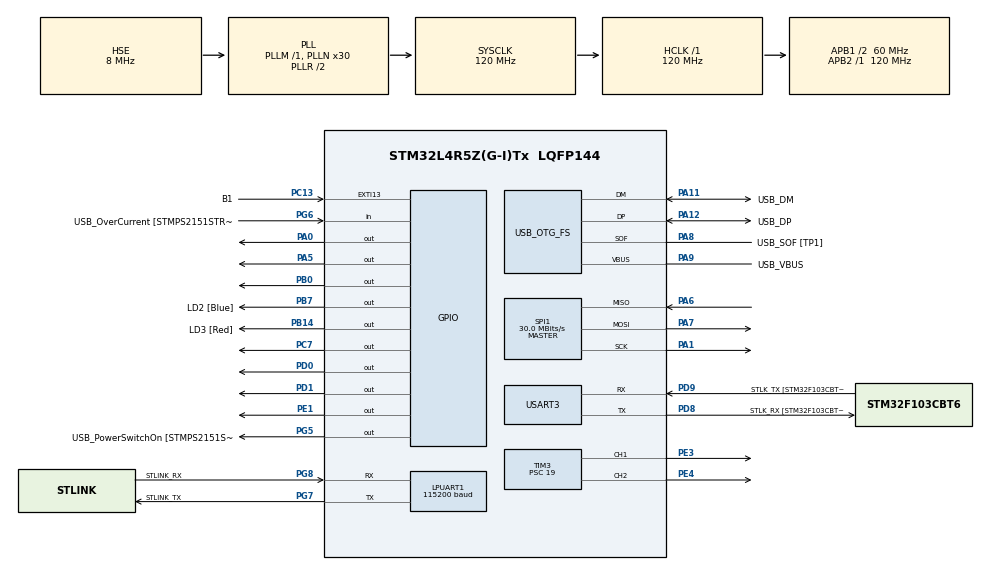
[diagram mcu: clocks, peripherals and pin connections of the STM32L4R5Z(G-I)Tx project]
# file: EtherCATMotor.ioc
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LPUART1.BaudRate=115200
LPUART1.WordLength=UART_WORDLENGTH_8B
Mcu.Family=STM32L4
Mcu.Name=STM32L4R5Z(G-I)Tx
Mcu.Package=LQFP144
NVIC.EXTI15_10_IRQn=true\:0\:0\:false\:false\:true\:true\:true
NVIC.PriorityGroup=NVIC_PRIORITYGROUP_4
PA0.GPIO_PuPd=GPIO_PULLUP
PA0.GPIO_Speed=GPIO_SPEED_FREQ_VERY_HIGH
PA0.PinState=GPIO_PIN_SET
PA0.Signal=GPIO_Output
PA1.Mode=Full_Duplex_Master
PA1.Signal=SPI1_SCK
PA10.GPIO_Label=USB_ID
PA10.Signal=USB_OTG_FS_ID
PA11.GPIO_Label=USB_DM
PA11.Mode=Device_Only
PA11.Signal=USB_OTG_FS_DM
PA12.GPIO_Label=USB_DP
PA12.Mode=Device_Only
PA12.Signal=USB_OTG_FS_DP
PA13\ (JTMS/SWDIO).GPIO_Label=TMS
PA13\ (JTMS/SWDIO).Mode=Trace_Asynchronous_SW
PA13\ (JTMS/SWDIO).Signal=SYS_JTMS-SWDIO
PA14\ (JTCK/SWCLK).GPIO_Label=TCK
PA14\ (JTCK/SWCLK).Mode=Trace_Asynchronous_SW
PA14\ (JTCK/SWCLK).Signal=SYS_JTCK-SWCLK
PA5.GPIO_PuPd=GPIO_PULLUP
PA5.PinState=GPIO_PIN_SET
PA5.Signal=GPIO_Output
PA6.Mode=Full_Duplex_Master
PA6.Signal=SPI1_MISO
PA7.Mode=Full_Duplex_Master
PA7.Signal=SPI1_MOSI
PA8.GPIO_Label=USB_SOF [TP1]
PA8.Mode=Activate_SOF_FS
PA8.Signal=USB_OTG_FS_SOF
PA9.GPIO_Label=USB_VBUS
PA9.Mode=Activate_VBUS
PA9.Signal=USB_OTG_FS_VBUS
PB0.GPIO_PuPd=GPIO_PULLUP
PB0.Signal=GPIO_Output
PB14.GPIO_Label=LD3 [Red]
PB14.GPIO_PuPd=GPIO_PULLUP
PB14.Signal=GPIO_Output
PB3\ (JTDO/TRACESWO).GPIO_Label=SWO
PB3\ (JTDO/TRACESWO).Mode=Trace_Asynchronous_SW
PB3\ (JTDO/TRACESWO).Signal=SYS_JTDO-SWO
PB7.GPIO_Label=LD2 [Blue]
PB7.GPIO_PuPd=GPIO_PULLUP
PB7.Signal=GPIO_Output
PC13.GPIO_Label=B1
PC13.Signal=GPXTI13
PC14-OSC32_IN\ (PC14).Mode=LSE-External-Oscillator
PC14-OSC32_IN\ (PC14).Signal=RCC_OSC32_IN
PC15-OSC32_OUT\ (PC15).Mode=LSE-External-Oscillator
PC15-OSC32_OUT\ (PC15).Signal=RCC_OSC32_OUT
PC7.GPIO_PuPd=GPIO_PULLUP
PC7.Signal=GPIO_Output
PD0.GPIO_PuPd=GPIO_PULLUP
PD0.GPIO_Speed=GPIO_SPEED_FREQ_HIGH
PD0.Signal=GPIO_Output
PD1.GPIO_PuPd=GPIO_PULLUP
PD1.GPIO_Speed=GPIO_SPEED_FREQ_HIGH
PD1.Signal=GPIO_Output
PD8.GPIO_Label=STLK_RX [STM32F103CBT6_PA3]
PD8.Mode=Asynchronous
PD8.Signal=USART3_TX
PD9.GPIO_Label=STLK_TX [STM32F103CBT6_PA2]
PD9.Mode=Asynchronous
PD9.Signal=USART3_RX
PE1.GPIO_PuPd=GPIO_PULLUP
PE1.GPIO_Speed=GPIO_SPEED_FREQ_HIGH
PE1.Signal=GPIO_Output
PE3.Signal=S_TIM3_CH1
PE4.Signal=S_TIM3_CH2
PG5.GPIO_Label=USB_PowerSwitchOn [STMPS2151STR_EN]
PG5.Signal=GPIO_Output
PG6.GPIO_Label=USB_OverCurrent [STMPS2151STR_FAULT]
PG6.Signal=GPIO_Input
PG7.GPIO_Label=STLINK_TX
PG7.Mode=Asynchronous
PG7.Signal=LPUART1_TX
PG8.GPIO_Label=STLINK_RX
PG8.Mode=Asynchronous
PG8.Signal=LPUART1_RX
PH0-OSC_IN\ (PH0).Mode=HSE-External-Clock-Source
PH0-OSC_IN\ (PH0).Signal=RCC_OSC_IN
PH1-OSC_OUT\ (PH1).Signal=RCC_OSC_OUT
ProjectManager.HeapSize=0x200
ProjectManager.StackSize=0x400
ProjectManager.TargetToolchain=STM32CubeIDE
RCC.48MHZClocksFreq_Value=24000000
RCC.ADCFreq_Value=48000000
RCC.AHBFreq_Value=120000000
RCC.APB1CLKDivider=RCC_HCLK_DIV2
RCC.APB1Freq_Value=60000000
RCC.APB1TimFreq_Value=120000000
RCC.APB2Freq_Value=120000000
RCC.APB2TimFreq_Value=120000000
RCC.CortexFreq_Value=120000000
RCC.HCLKFreq_Value=120000000
RCC.HSE_VALUE=8000000
RCC.HSI48_VALUE=48000000
RCC.HSI_VALUE=16000000
RCC.MSI_VALUE=4000000
RCC.PLLMUL=RCC_PLL_MUL9
RCC.PLLN=30
RCC.PLLSAI1N=12
RCC.PLLSourceVirtual=RCC_PLLSOURCE_HSE
RCC.PRESCALERUSB=RCC_USBCLKSOURCE_PLL_DIV1_5
RCC.SYSCLKFreq_VALUE=120000000
RCC.SYSCLKSource=RCC_SYSCLKSOURCE_PLLCLK
RCC.SYSCLKSourceVirtual=RCC_SYSCLKSOURCE_PLLCLK
RCC.USBFreq_Value=48000000
RCC.VCOOutputFreq_Value=240000000
SH.S_TIM3_CH1.0=TIM3_CH1,PWM Generation1 CH1
SH.S_TIM3_CH2.0=TIM3_CH2,PWM Generation2 CH2
SPI1.BaudRatePrescaler=SPI_BAUDRATEPRESCALER_4
SPI1.CalculateBaudRate=30.0 MBits/s
SPI1.DataSize=SPI_DATASIZE_8BIT
SPI1.Direction=SPI_DIRECTION_2LINES
SPI1.Mode=SPI_MODE_MASTER
SPI1.VirtualType=VM_MASTER
TIM3.Channel-PWM\ Generation1\ CH1=TIM_CHANNEL_1
TIM3.Channel-PWM\ Generation2\ CH2=TIM_CHANNEL_2
TIM3.Period=99
TIM3.Prescaler=19
USART3.VirtualMode-Asynchronous=VM_ASYNC
USB_OTG_FS.VirtualMode=Device_Only
VP_TIM3_VS_ClockSourceINT.Mode=Internal
board=NUCLEO-L4R5ZI

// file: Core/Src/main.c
/* USER CODE BEGIN Header */
/**
  ******************************************************************************
  * @file           : main.c
  * @brief          : Main program body
  ******************************************************************************
  * @attention
  *
  * <h2><center>&copy; Copyright (c) 2020 STMicroelectronics.
  * All rights reserved.</center></h2>
  *
  * This software component is licensed by ST under BSD 3-Clause license,
  * the "License"; You may not use this file except in compliance with the
  * License. You may obtain a copy of the License at:
  *                        opensource.org/licenses/BSD-3-Clause
  *
  ******************************************************************************
  */
/* USER CODE END Header */

#include "main.h"

/* USER CODE BEGIN Includes */
#include <stdio.h>							//just add
#include "App\ecat_slv.h"
#include "App\utypes.h"
#include "Driver\PWM_Generating.h"
/* USER CODE END Includes */

/* USER CODE BEGIN PD */
#define Postgain (86.0/150.0)
/* USER CODE END PD */

UART_HandleTypeDef hlpuart1;
UART_HandleTypeDef huart3;

SPI_HandleTypeDef hspi1;

TIM_HandleTypeDef htim3;

PCD_HandleTypeDef hpcd_USB_OTG_FS;

/* USER CODE BEGIN PV */
_Objects    Obj;								//Just add

enum Status  {Running = 0x01, Stopped = 0x00, Pendings = 0x02};
enum Status Motorstatus = Stopped;
int32_t Pwmduty = 0;
/* USER CODE END PV */

void SystemClock_Config(void);
static void MX_GPIO_Init(void);
static void MX_LPUART1_UART_Init(void);
static void MX_USART3_UART_Init(void);
static void MX_USB_OTG_FS_PCD_Init(void);
static void MX_SPI1_Init(void);
static void MX_TIM3_Init(void);
/* USER CODE BEGIN PFP */
void cb_get_inputs (void)					//just add
{
	if (Obj.BUTTON.BUTTON_1 == 1) {
		Obj.LED.LED_RED = 1;
		HAL_GPIO_WritePin(GPIOB, GPIO_PIN_14, GPIO_PIN_SET);
	}
	else {
		Obj.LED.LED_RED = 0;
		HAL_GPIO_WritePin(GPIOB, GPIO_PIN_14, GPIO_PIN_RESET);
	}

	if (Obj.BUTTON.BUTTON_2 == 1) {
		Obj.BUTTON_VAL = 1;
		Obj.LED.LED_BLUE = 1;
		HAL_GPIO_WritePin(GPIOB, GPIO_PIN_7, GPIO_PIN_SET);
	}
	else {
		Obj.LED.LED_BLUE = 0;
		HAL_GPIO_WritePin(GPIOB, GPIO_PIN_7, GPIO_PIN_RESET);
	}

	Obj.LED_VAL = Obj.BUTTON_VAL;

	Motorstatus = Obj.MotorStatus;

	Pwmduty = (int32_t)(Obj.pwm * Postgain);
	if (Pwmduty < -90) Pwmduty = -90;
	if (Pwmduty > 90) Pwmduty = 90;
}

void cb_set_outputs (void)
{
}
/* USER CODE END PFP */

/* USER CODE BEGIN 0 */

void HAL_GPIO_EXTI_Callback(uint16_t GPIO_Pin)
{
	Obj.PHY_BUTTON ^= 0x01;
}

/* USER CODE END 0 */

int main(void)
{

  /* MCU Configuration--------------------------------------------------------*/

  /* Reset of all peripherals, Initializes the Flash interface and the Systick. */
  HAL_Init();

  /* Configure the system clock */
  SystemClock_Config();

  /* Initialize all configured peripherals */
  MX_GPIO_Init();
  MX_LPUART1_UART_Init();
  MX_USART3_UART_Init();
  MX_USB_OTG_FS_PCD_Init();
  MX_SPI1_Init();
  MX_TIM3_Init();
  /* USER CODE BEGIN 2 */

  static esc_cfg_t config =						//just add
  {
     .user_arg = "/dev/lan9252",
     .use_interrupt = 0,
     .watchdog_cnt = 65000,
     .set_defaults_hook = NULL,
     .pre_state_change_hook = NULL,
     .post_state_change_hook = NULL,
     .application_hook = NULL,
     .safeoutput_override = NULL,
     .pre_object_download_hook = NULL,
     .post_object_download_hook = NULL,
     .rxpdo_override = NULL,
     .txpdo_override = NULL,
     .esc_hw_interrupt_enable = NULL,
     .esc_hw_interrupt_disable = NULL,
     .esc_hw_eep_handler = NULL,
     .esc_check_dc_handler = NULL,
  };

  ecat_slv_init (&config);
  DPRINT("Hello Main\n");

  HAL_GPIO_WritePin(GPIOD, GPIO_PIN_0, GPIO_PIN_SET);
  HAL_GPIO_WritePin(GPIOD, GPIO_PIN_1, GPIO_PIN_SET);
  HAL_TIM_PWM_Start(&htim3, TIM_CHANNEL_1);
  int32_t pwmduty = 0;
  /* USER CODE END 2 */

  /* Infinite loop */
  /* USER CODE BEGIN WHILE */
  while (1)
  {
	  ecat_slv();								//just add

	  switch (Motorstatus)
	  {
	  case Running:
//		  PWMGen2(&Pwmduty, &htim3, TIM_CHANNEL_1, GPIOD, GPIO_PIN_0, GPIOD, GPIO_PIN_1);
		  PWMGen3(&Pwmduty, &htim3, TIM_CHANNEL_1, GPIOE, GPIO_PIN_1);
		  break;
	  case Stopped:

//		  PWMGen2(&pwmduty, &htim3, TIM_CHANNEL_1, GPIOD, GPIO_PIN_0, GPIOD, GPIO_PIN_1);
		  PWMGen3(&pwmduty, &htim3, TIM_CHANNEL_1, GPIOE, GPIO_PIN_1);
		  break;
	  default:
		  break;
	  }

    /* USER CODE END WHILE */

  }
}

void SystemClock_Config(void)
{
  RCC_OscInitTypeDef RCC_OscInitStruct = {0};
  RCC_ClkInitTypeDef RCC_ClkInitStruct = {0};
  RCC_PeriphCLKInitTypeDef PeriphClkInit = {0};

  /** Configure the main internal regulator output voltage
  */
  if (HAL_PWREx_ControlVoltageScaling(PWR_REGULATOR_VOLTAGE_SCALE1_BOOST) != HAL_OK)
  {
    Error_Handler();
  }
  /** Initializes the CPU, AHB and APB busses clocks
  */
  RCC_OscInitStruct.OscillatorType = RCC_OSCILLATORTYPE_HSE;
  RCC_OscInitStruct.HSEState = RCC_HSE_BYPASS;
  RCC_OscInitStruct.PLL.PLLState = RCC_PLL_ON;
  RCC_OscInitStruct.PLL.PLLSource = RCC_PLLSOURCE_HSE;
  RCC_OscInitStruct.PLL.PLLM = 1;
  RCC_OscInitStruct.PLL.PLLN = 30;
  RCC_OscInitStruct.PLL.PLLP = RCC_PLLP_DIV2;
  RCC_OscInitStruct.PLL.PLLQ = RCC_PLLQ_DIV2;
  RCC_OscInitStruct.PLL.PLLR = RCC_PLLR_DIV2;
  if (HAL_RCC_OscConfig(&RCC_OscInitStruct) != HAL_OK)
  {
    Error_Handler();
  }
  /** Initializes the CPU, AHB and APB busses clocks
  */
  RCC_ClkInitStruct.ClockType = RCC_CLOCKTYPE_HCLK|RCC_CLOCKTYPE_SYSCLK
                              |RCC_CLOCKTYPE_PCLK1|RCC_CLOCKTYPE_PCLK2;
  RCC_ClkInitStruct.SYSCLKSource = RCC_SYSCLKSOURCE_PLLCLK;
  RCC_ClkInitStruct.AHBCLKDivider = RCC_SYSCLK_DIV1;
  RCC_ClkInitStruct.APB1CLKDivider = RCC_HCLK_DIV2;
  RCC_ClkInitStruct.APB2CLKDivider = RCC_HCLK_DIV1;

  if (HAL_RCC_ClockConfig(&RCC_ClkInitStruct, FLASH_LATENCY_5) != HAL_OK)
  {
    Error_Handler();
  }
  PeriphClkInit.PeriphClockSelection = RCC_PERIPHCLK_USART3|RCC_PERIPHCLK_LPUART1
                              |RCC_PERIPHCLK_USB;
  PeriphClkInit.Usart3ClockSelection = RCC_USART3CLKSOURCE_PCLK1;
  PeriphClkInit.Lpuart1ClockSelection = RCC_LPUART1CLKSOURCE_PCLK1;
  PeriphClkInit.UsbClockSelection = RCC_USBCLKSOURCE_PLLSAI1;
  PeriphClkInit.PLLSAI1.PLLSAI1Source = RCC_PLLSOURCE_HSE;
  PeriphClkInit.PLLSAI1.PLLSAI1M = 1;
  PeriphClkInit.PLLSAI1.PLLSAI1N = 12;
  PeriphClkInit.PLLSAI1.PLLSAI1P = RCC_PLLP_DIV2;
  PeriphClkInit.PLLSAI1.PLLSAI1Q = RCC_PLLQ_DIV2;
  PeriphClkInit.PLLSAI1.PLLSAI1R = RCC_PLLR_DIV2;
  PeriphClkInit.PLLSAI1.PLLSAI1ClockOut = RCC_PLLSAI1_48M2CLK;
  if (HAL_RCCEx_PeriphCLKConfig(&PeriphClkInit) != HAL_OK)
  {
    Error_Handler();
  }
}

static void MX_LPUART1_UART_Init(void)
{

  hlpuart1.Instance = LPUART1;
  hlpuart1.Init.BaudRate = 115200;
  hlpuart1.Init.WordLength = UART_WORDLENGTH_8B;
  hlpuart1.Init.StopBits = UART_STOPBITS_1;
  hlpuart1.Init.Parity = UART_PARITY_NONE;
  hlpuart1.Init.Mode = UART_MODE_TX_RX;
  hlpuart1.Init.HwFlowCtl = UART_HWCONTROL_NONE;
  hlpuart1.Init.OneBitSampling = UART_ONE_BIT_SAMPLE_DISABLE;
  hlpuart1.Init.ClockPrescaler = UART_PRESCALER_DIV1;
  hlpuart1.AdvancedInit.AdvFeatureInit = UART_ADVFEATURE_NO_INIT;
  hlpuart1.FifoMode = UART_FIFOMODE_DISABLE;
  if (HAL_UART_Init(&hlpuart1) != HAL_OK)
  {
    Error_Handler();
  }
  if (HAL_UARTEx_SetTxFifoThreshold(&hlpuart1, UART_TXFIFO_THRESHOLD_1_8) != HAL_OK)
  {
    Error_Handler();
  }
  if (HAL_UARTEx_SetRxFifoThreshold(&hlpuart1, UART_RXFIFO_THRESHOLD_1_8) != HAL_OK)
  {
    Error_Handler();
  }

}

static void MX_USART3_UART_Init(void)
{

  huart3.Instance = USART3;
  huart3.Init.BaudRate = 115200;
  huart3.Init.WordLength = UART_WORDLENGTH_8B;
  huart3.Init.StopBits = UART_STOPBITS_1;
  huart3.Init.Parity = UART_PARITY_NONE;
  huart3.Init.Mode = UART_MODE_TX_RX;
  huart3.Init.HwFlowCtl = UART_HWCONTROL_NONE;
  huart3.Init.OverSampling = UART_OVERSAMPLING_16;
  huart3.Init.OneBitSampling = UART_ONE_BIT_SAMPLE_DISABLE;
  huart3.Init.ClockPrescaler = UART_PRESCALER_DIV1;
  huart3.AdvancedInit.AdvFeatureInit = UART_ADVFEATURE_NO_INIT;
  if (HAL_UART_Init(&huart3) != HAL_OK)
  {
    Error_Handler();
  }
  if (HAL_UARTEx_SetTxFifoThreshold(&huart3, UART_TXFIFO_THRESHOLD_1_8) != HAL_OK)
  {
    Error_Handler();
  }
  if (HAL_UARTEx_SetRxFifoThreshold(&huart3, UART_RXFIFO_THRESHOLD_1_8) != HAL_OK)
  {
    Error_Handler();
  }
  if (HAL_UARTEx_DisableFifoMode(&huart3) != HAL_OK)
  {
    Error_Handler();
  }

}

static void MX_SPI1_Init(void)
{

  /* SPI1 parameter configuration*/
  hspi1.Instance = SPI1;
  hspi1.Init.Mode = SPI_MODE_MASTER;
  hspi1.Init.Direction = SPI_DIRECTION_2LINES;
  hspi1.Init.DataSize = SPI_DATASIZE_8BIT;
  hspi1.Init.CLKPolarity = SPI_POLARITY_LOW;
  hspi1.Init.CLKPhase = SPI_PHASE_1EDGE;
  hspi1.Init.NSS = SPI_NSS_SOFT;
  hspi1.Init.BaudRatePrescaler = SPI_BAUDRATEPRESCALER_4;
  hspi1.Init.FirstBit = SPI_FIRSTBIT_MSB;
  hspi1.Init.TIMode = SPI_TIMODE_DISABLE;
  hspi1.Init.CRCCalculation = SPI_CRCCALCULATION_DISABLE;
  hspi1.Init.CRCPolynomial = 7;
  hspi1.Init.CRCLength = SPI_CRC_LENGTH_DATASIZE;
  hspi1.Init.NSSPMode = SPI_NSS_PULSE_ENABLE;
  if (HAL_SPI_Init(&hspi1) != HAL_OK)
  {
    Error_Handler();
  }

}

static void MX_TIM3_Init(void)
{

  TIM_ClockConfigTypeDef sClockSourceConfig = {0};
  TIM_MasterConfigTypeDef sMasterConfig = {0};
  TIM_OC_InitTypeDef sConfigOC = {0};

  htim3.Instance = TIM3;
  htim3.Init.Prescaler = 19;
  htim3.Init.CounterMode = TIM_COUNTERMODE_UP;
  htim3.Init.Period = 99;
  htim3.Init.ClockDivision = TIM_CLOCKDIVISION_DIV1;
  htim3.Init.AutoReloadPreload = TIM_AUTORELOAD_PRELOAD_DISABLE;
  if (HAL_TIM_Base_Init(&htim3) != HAL_OK)
  {
    Error_Handler();
  }
  sClockSourceConfig.ClockSource = TIM_CLOCKSOURCE_INTERNAL;
  if (HAL_TIM_ConfigClockSource(&htim3, &sClockSourceConfig) != HAL_OK)
  {
    Error_Handler();
  }
  if (HAL_TIM_PWM_Init(&htim3) != HAL_OK)
  {
    Error_Handler();
  }
  sMasterConfig.MasterOutputTrigger = TIM_TRGO_RESET;
  sMasterConfig.MasterSlaveMode = TIM_MASTERSLAVEMODE_DISABLE;
  if (HAL_TIMEx_MasterConfigSynchronization(&htim3, &sMasterConfig) != HAL_OK)
  {
    Error_Handler();
  }
  sConfigOC.OCMode = TIM_OCMODE_PWM1;
  sConfigOC.Pulse = 0;
  sConfigOC.OCPolarity = TIM_OCPOLARITY_HIGH;
  sConfigOC.OCFastMode = TIM_OCFAST_DISABLE;
  if (HAL_TIM_PWM_ConfigChannel(&htim3, &sConfigOC, TIM_CHANNEL_1) != HAL_OK)
  {
    Error_Handler();
  }
  if (HAL_TIM_PWM_ConfigChannel(&htim3, &sConfigOC, TIM_CHANNEL_2) != HAL_OK)
  {
    Error_Handler();
  }
  HAL_TIM_MspPostInit(&htim3);

}

static void MX_USB_OTG_FS_PCD_Init(void)
{

  hpcd_USB_OTG_FS.Instance = USB_OTG_FS;
  hpcd_USB_OTG_FS.Init.dev_endpoints = 6;
  hpcd_USB_OTG_FS.Init.phy_itface = PCD_PHY_EMBEDDED;
  hpcd_USB_OTG_FS.Init.Sof_enable = ENABLE;
  hpcd_USB_OTG_FS.Init.low_power_enable = DISABLE;
  hpcd_USB_OTG_FS.Init.lpm_enable = DISABLE;
  hpcd_USB_OTG_FS.Init.battery_charging_enable = ENABLE;
  hpcd_USB_OTG_FS.Init.use_dedicated_ep1 = DISABLE;
  hpcd_USB_OTG_FS.Init.vbus_sensing_enable = ENABLE;
  if (HAL_PCD_Init(&hpcd_USB_OTG_FS) != HAL_OK)
  {
    Error_Handler();
  }

}

static void MX_GPIO_Init(void)
{
  GPIO_InitTypeDef GPIO_InitStruct = {0};

  /* GPIO Ports Clock Enable */
  __HAL_RCC_GPIOE_CLK_ENABLE();
  __HAL_RCC_GPIOC_CLK_ENABLE();
  __HAL_RCC_GPIOH_CLK_ENABLE();
  __HAL_RCC_GPIOA_CLK_ENABLE();
  __HAL_RCC_GPIOB_CLK_ENABLE();
  __HAL_RCC_GPIOD_CLK_ENABLE();
  __HAL_RCC_GPIOG_CLK_ENABLE();
  HAL_PWREx_EnableVddIO2();

  /*Configure GPIO pin Output Level */
  HAL_GPIO_WritePin(GPIOA, GPIO_PIN_0|GPIO_PIN_5, GPIO_PIN_SET);

  /*Configure GPIO pin Output Level */
  HAL_GPIO_WritePin(GPIOB, GPIO_PIN_0|LD3_Pin|LD2_Pin, GPIO_PIN_RESET);

  /*Configure GPIO pin Output Level */
  HAL_GPIO_WritePin(USB_PowerSwitchOn_GPIO_Port, USB_PowerSwitchOn_Pin, GPIO_PIN_RESET);

  /*Configure GPIO pin Output Level */
  HAL_GPIO_WritePin(GPIOC, GPIO_PIN_7, GPIO_PIN_RESET);

  /*Configure GPIO pin Output Level */
  HAL_GPIO_WritePin(GPIOD, GPIO_PIN_0|GPIO_PIN_1, GPIO_PIN_RESET);

  /*Configure GPIO pin Output Level */
  HAL_GPIO_WritePin(GPIOE, GPIO_PIN_1, GPIO_PIN_RESET);

  /*Configure GPIO pin : B1_Pin */
  GPIO_InitStruct.Pin = B1_Pin;
  GPIO_InitStruct.Mode = GPIO_MODE_IT_RISING;
  GPIO_InitStruct.Pull = GPIO_NOPULL;
  HAL_GPIO_Init(B1_GPIO_Port, &GPIO_InitStruct);

  /*Configure GPIO pin : PA0 */
  GPIO_InitStruct.Pin = GPIO_PIN_0;
  GPIO_InitStruct.Mode = GPIO_MODE_OUTPUT_PP;
  GPIO_InitStruct.Pull = GPIO_PULLUP;
  GPIO_InitStruct.Speed = GPIO_SPEED_FREQ_VERY_HIGH;
  HAL_GPIO_Init(GPIOA, &GPIO_InitStruct);

  /*Configure GPIO pin : PA5 */
  GPIO_InitStruct.Pin = GPIO_PIN_5;
  GPIO_InitStruct.Mode = GPIO_MODE_OUTPUT_PP;
  GPIO_InitStruct.Pull = GPIO_PULLUP;
  GPIO_InitStruct.Speed = GPIO_SPEED_FREQ_LOW;
  HAL_GPIO_Init(GPIOA, &GPIO_InitStruct);

  /*Configure GPIO pins : PB0 LD3_Pin LD2_Pin */
  GPIO_InitStruct.Pin = GPIO_PIN_0|LD3_Pin|LD2_Pin;
  GPIO_InitStruct.Mode = GPIO_MODE_OUTPUT_PP;
  GPIO_InitStruct.Pull = GPIO_PULLUP;
  GPIO_InitStruct.Speed = GPIO_SPEED_FREQ_LOW;
  HAL_GPIO_Init(GPIOB, &GPIO_InitStruct);

  /*Configure GPIO pin : USB_PowerSwitchOn_Pin */
  GPIO_InitStruct.Pin = USB_PowerSwitchOn_Pin;
  GPIO_InitStruct.Mode = GPIO_MODE_OUTPUT_PP;
  GPIO_InitStruct.Pull = GPIO_NOPULL;
  GPIO_InitStruct.Speed = GPIO_SPEED_FREQ_LOW;
  HAL_GPIO_Init(USB_PowerSwitchOn_GPIO_Port, &GPIO_InitStruct);

  /*Configure GPIO pin : USB_OverCurrent_Pin */
  GPIO_InitStruct.Pin = USB_OverCurrent_Pin;
  GPIO_InitStruct.Mode = GPIO_MODE_INPUT;
  GPIO_InitStruct.Pull = GPIO_NOPULL;
  HAL_GPIO_Init(USB_OverCurrent_GPIO_Port, &GPIO_InitStruct);

  /*Configure GPIO pin : PC7 */
  GPIO_InitStruct.Pin = GPIO_PIN_7;
  GPIO_InitStruct.Mode = GPIO_MODE_OUTPUT_PP;
  GPIO_InitStruct.Pull = GPIO_PULLUP;
  GPIO_InitStruct.Speed = GPIO_SPEED_FREQ_LOW;
  HAL_GPIO_Init(GPIOC, &GPIO_InitStruct);

  /*Configure GPIO pins : PD0 PD1 */
  GPIO_InitStruct.Pin = GPIO_PIN_0|GPIO_PIN_1;
  GPIO_InitStruct.Mode = GPIO_MODE_OUTPUT_PP;
  GPIO_InitStruct.Pull = GPIO_PULLUP;
  GPIO_InitStruct.Speed = GPIO_SPEED_FREQ_HIGH;
  HAL_GPIO_Init(GPIOD, &GPIO_InitStruct);

  /*Configure GPIO pin : PE1 */
  GPIO_InitStruct.Pin = GPIO_PIN_1;
  GPIO_InitStruct.Mode = GPIO_MODE_OUTPUT_PP;
  GPIO_InitStruct.Pull = GPIO_PULLUP;
  GPIO_InitStruct.Speed = GPIO_SPEED_FREQ_HIGH;
  HAL_GPIO_Init(GPIOE, &GPIO_InitStruct);

  /* EXTI interrupt init*/
  HAL_NVIC_SetPriority(EXTI15_10_IRQn, 0, 0);
  HAL_NVIC_EnableIRQ(EXTI15_10_IRQn);

}

void Error_Handler(void)
{
}

/************************ (C) COPYRIGHT STMicroelectronics *****END OF FILE****/
